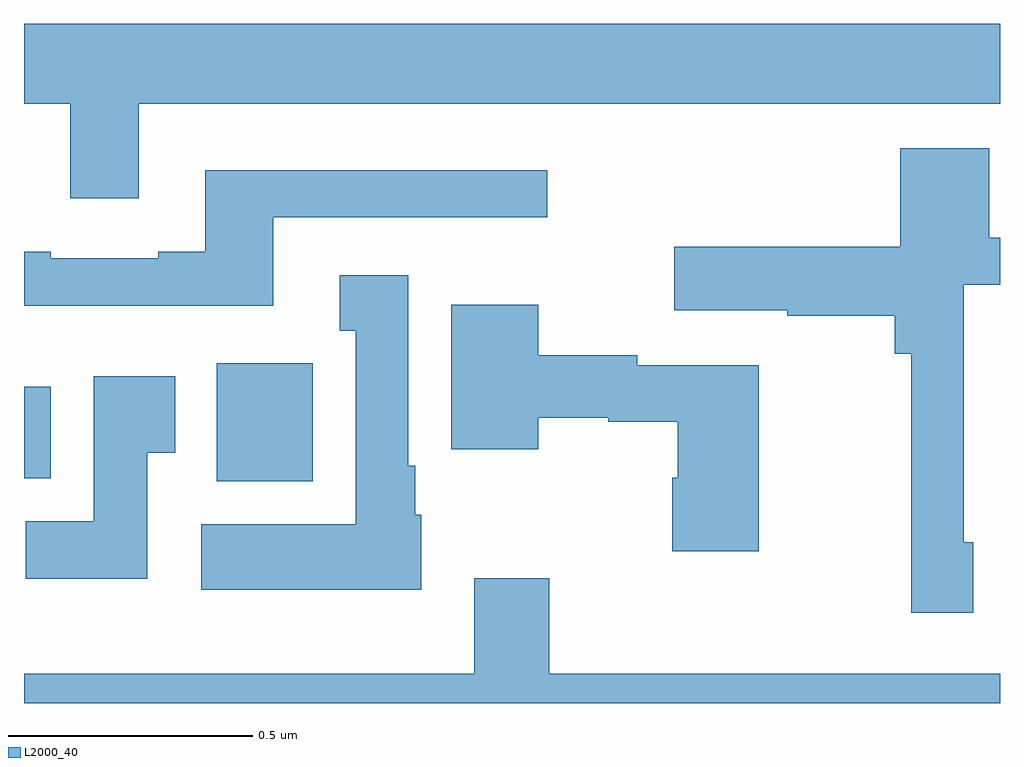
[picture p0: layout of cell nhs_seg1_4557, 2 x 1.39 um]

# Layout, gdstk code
import gdstk
lib = gdstk.Library(unit=1e-6, precision=1e-09)
def R(c, l, rs):  # rectangles x0, y0, x1, y1
    for r in rs: c.add(gdstk.rectangle(r[:2], r[2:], *l))
def P(c, l, *ps):  # polygons
    for p in ps: c.add(gdstk.Polygon(p, *l))
L2000_40 = (2000, 40)

nhs_seg1_4557 = lib.new_cell('nhs_seg1_4557')
R(nhs_seg1_4557, L2000_40, [(168.395,521.654,168.592,521.896), (168,521.66,168.055,521.848)])
P(nhs_seg1_4557, L2000_40, [(168,522.428),(168.095,522.428),(168.095,522.234),(168.235,522.234),(168.235,522.428),(170,522.428),(170,522.592),(168,522.592)],
  [(169.945,521.529),(169.926,521.529),(169.926,522.057),(170,522.057),(170,522.153),(169.978,522.153),(169.978,522.337),(169.796,522.337),(169.796,522.135),(169.332,522.135),(169.332,522.005),(169.564,522.005),(169.564,521.993),(169.784,521.993),(169.784,521.915),(169.818,521.915),(169.818,521.385),(169.945,521.385)],
  [(168.511,522.195),(169.072,522.195),(169.072,522.292),(168.371,522.292),(168.371,522.124),(168.275,522.124),(168.275,522.111),(168.055,522.111),(168.055,522.124),(168,522.124),(168,522.014),(168.511,522.014)],
  [(168.814,521.586),(168.802,521.586),(168.802,521.686),(168.787,521.686),(168.787,522.076),(168.647,522.076),(168.647,521.963),(168.68,521.963),(168.68,521.566),(168.363,521.566),(168.363,521.432),(168.814,521.432)],
  [(169.506,521.892),(169.257,521.892),(169.257,521.912),(169.054,521.912),(169.054,522.016),(168.875,522.016),(168.875,521.72),(169.054,521.72),(169.054,521.784),(169.197,521.784),(169.197,521.776),(169.34,521.776),(169.34,521.661),(169.328,521.661),(169.328,521.511),(169.506,521.511)],
  [(168.253,521.713),(168.31,521.713),(168.31,521.869),(168.143,521.869),(168.143,521.572),(168.004,521.572),(168.004,521.454),(168.253,521.454)],
  [(170,521.26),(169.076,521.26),(169.076,521.455),(168.923,521.455),(168.923,521.26),(168,521.26),(168,521.199),(170,521.199)])

lib.write_gds('nhs_seg1_4557.gds')
